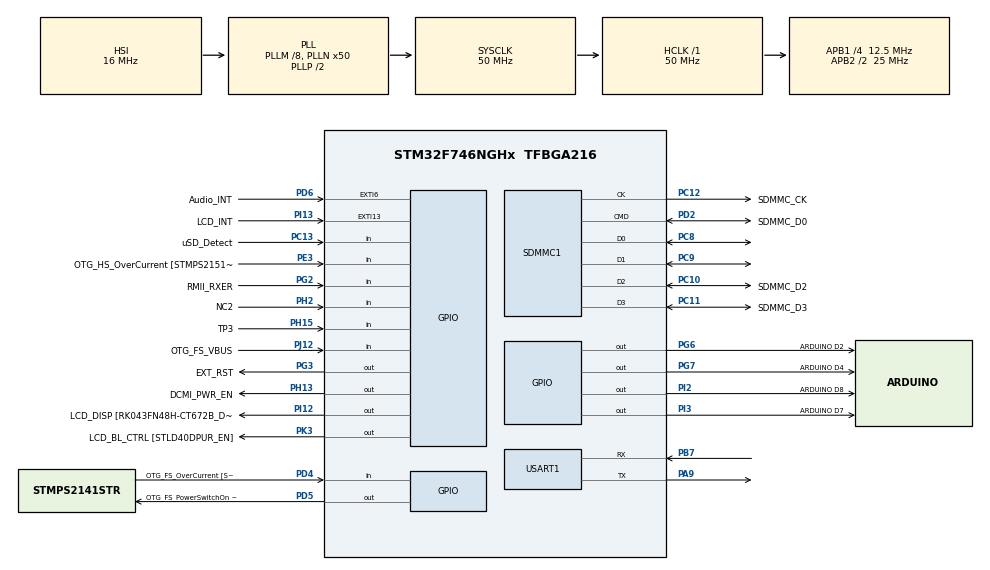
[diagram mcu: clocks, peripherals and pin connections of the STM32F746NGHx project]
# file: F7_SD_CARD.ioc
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Dma.Request0=SDMMC1_RX
Dma.Request1=SDMMC1_TX
Dma.SDMMC1_RX.0.Direction=DMA_PERIPH_TO_MEMORY
Dma.SDMMC1_RX.0.FIFOMode=DMA_FIFOMODE_ENABLE
Dma.SDMMC1_RX.0.FIFOThreshold=DMA_FIFO_THRESHOLD_FULL
Dma.SDMMC1_RX.0.Instance=DMA2_Stream3
Dma.SDMMC1_RX.0.MemBurst=DMA_MBURST_INC4
Dma.SDMMC1_RX.0.MemDataAlignment=DMA_MDATAALIGN_WORD
Dma.SDMMC1_RX.0.MemInc=DMA_MINC_ENABLE
Dma.SDMMC1_RX.0.Mode=DMA_PFCTRL
Dma.SDMMC1_RX.0.PeriphBurst=DMA_PBURST_INC4
Dma.SDMMC1_RX.0.PeriphDataAlignment=DMA_PDATAALIGN_WORD
Dma.SDMMC1_RX.0.PeriphInc=DMA_PINC_DISABLE
Dma.SDMMC1_RX.0.Priority=DMA_PRIORITY_LOW
Dma.SDMMC1_TX.1.Direction=DMA_MEMORY_TO_PERIPH
Dma.SDMMC1_TX.1.FIFOMode=DMA_FIFOMODE_ENABLE
Dma.SDMMC1_TX.1.FIFOThreshold=DMA_FIFO_THRESHOLD_FULL
Dma.SDMMC1_TX.1.Instance=DMA2_Stream6
Dma.SDMMC1_TX.1.MemBurst=DMA_MBURST_INC4
Dma.SDMMC1_TX.1.MemDataAlignment=DMA_MDATAALIGN_WORD
Dma.SDMMC1_TX.1.MemInc=DMA_MINC_ENABLE
Dma.SDMMC1_TX.1.Mode=DMA_PFCTRL
Dma.SDMMC1_TX.1.PeriphBurst=DMA_PBURST_INC4
Dma.SDMMC1_TX.1.PeriphDataAlignment=DMA_PDATAALIGN_WORD
Dma.SDMMC1_TX.1.PeriphInc=DMA_PINC_DISABLE
Dma.SDMMC1_TX.1.Priority=DMA_PRIORITY_LOW
FATFS.BSP.number=1
FATFS.USE_DMA_CODE_SD=1
FATFS0.BSP.STBoard=false
FATFS0.BSP.api=Unknown
FATFS0.BSP.instance=PC13
FATFS0.BSP.ip=GPIO
FATFS0.BSP.mode=Input
FATFS0.BSP.name=Detect_SDIO
FATFS0.BSP.solution=PC13
Mcu.Family=STM32F7
Mcu.Name=STM32F746NGHx
Mcu.Package=TFBGA216
NVIC.DMA2_Stream3_IRQn=true\:0\:0\:false\:false\:true\:false\:true\:true
NVIC.DMA2_Stream6_IRQn=true\:0\:0\:false\:false\:true\:false\:true\:true
NVIC.PriorityGroup=NVIC_PRIORITYGROUP_4
NVIC.SDMMC1_IRQn=true\:0\:0\:false\:false\:true\:true\:true\:true
PA0/WKUP.GPIO_Label=ARDUINO A0
PA0/WKUP.GPIO_Mode=GPIO_MODE_ANALOG
PA0/WKUP.GPIO_PuPd=GPIO_NOPULL
PA0/WKUP.Signal=ADCx_IN0
PA1.GPIO_Label=RMII_REF_CLK [LAN8742A-CZ-TR_REFCLK0]
PA1.Signal=ETH_REF_CLK
PA10.GPIO_Label=OTG_FS_ID
PA10.Signal=USB_OTG_FS_ID
PA11.GPIO_Label=OTG_FS_N
PA11.Signal=USB_OTG_FS_DM
PA12.GPIO_Label=OTG_FS_P
PA12.Signal=USB_OTG_FS_DP
PA13.GPIO_Label=SWDIO
PA13.Signal=SYS_JTMS-SWDIO
PA14.GPIO_Label=SWCLK
PA14.Signal=SYS_JTCK-SWCLK
PA15.GPIO_Label=ARDUINO PWM/D9
PA15.GPIO_ModeDefaultPP=GPIO_MODE_AF_PP
PA15.GPIO_PuPd=GPIO_NOPULL
PA15.GPIO_Speed=GPIO_SPEED_FREQ_LOW
PA15.Signal=S_TIM2_CH1_ETR
PA2.GPIO_Label=RMII_MDIO [LAN8742A-CZ-TR_MDIO]
PA2.Signal=ETH_MDIO
PA3.GPIO_Label=ULPI_D0 [USB3320C-EZK_D0]
PA3.Signal=USB_OTG_HS_ULPI_D0
PA4.GPIO_Label=DCMI_HSYNC
PA4.Signal=DCMI_HSYNC
PA5.GPIO_Label=ULPI_CLK [USB3320C-EZK_CLKOUT]
PA5.Signal=USB_OTG_HS_ULPI_CK
PA6.Signal=DCMI_PIXCLK
PA7.GPIO_Label=RMII_CRS_DV [LAN8742A-CZ-TR_CRS_DV]
PA7.Signal=ETH_CRS_DV
PA8.GPIO_Label=ARDUINO PWM/D10
PA8.GPIO_ModeDefaultPP=GPIO_MODE_AF_PP
PA8.GPIO_PuPd=GPIO_NOPULL
PA8.GPIO_Speed=GPIO_SPEED_FREQ_LOW
PA8.Signal=S_TIM1_CH1
PA9.Mode=Asynchronous
PA9.Signal=USART1_TX
PB0.GPIO_Label=ULPI_D1 [USB3320C-EZK_D1]
PB0.Signal=USB_OTG_HS_ULPI_D1
PB1.GPIO_Label=ULPI_D2 [USB3320C-EZK_D2]
PB1.Signal=USB_OTG_HS_ULPI_D2
PB10.GPIO_Label=ULPI_D3 [USB3320C-EZK_D3]
PB10.Signal=USB_OTG_HS_ULPI_D3
PB11.GPIO_Label=ULPI_D4 [USB3320C-EZK_D4]
PB11.Signal=USB_OTG_HS_ULPI_D4
PB12.GPIO_Label=ULPI_D5 [USB3320C-EZK_D5]
PB12.Signal=USB_OTG_HS_ULPI_D5
PB13.GPIO_Label=ULPI_D6 [USB3320C-EZK_D6]
PB13.Signal=USB_OTG_HS_ULPI_D6
PB14.GPIO_Label=ARDUINO MISO/D12
PB14.GPIO_Mode=GPIO_MODE_AF_PP
PB14.GPIO_PuPd=GPIO_NOPULL
PB14.GPIO_Speed=GPIO_SPEED_FREQ_LOW
PB14.Signal=SPI2_MISO
PB15.GPIO_Label=ARDUINO MOSI/PWM/D11
PB15.GPIO_Mode=GPIO_MODE_AF_PP
PB15.GPIO_PuPd=GPIO_NOPULL
PB15.GPIO_Speed=GPIO_SPEED_FREQ_LOW
PB15.Signal=SPI2_MOSI
PB2.Signal=QUADSPI_CLK
PB3.GPIO_Label=SWO
PB3.Signal=SYS_JTDO-SWO
PB4.GPIO_Label=ARDUINO PWM/D3
PB4.GPIO_ModeDefaultPP=GPIO_MODE_AF_PP
PB4.GPIO_PuPd=GPIO_NOPULL
PB4.GPIO_Speed=GPIO_SPEED_FREQ_LOW
PB4.Signal=S_TIM3_CH1
PB5.GPIO_Label=ULPI_D7 [USB3320C-EZK_D7]
PB5.Signal=USB_OTG_HS_ULPI_D7
PB6.GPIO_Label=QSPI_NCS [N25Q128A13EF840E_S]
PB6.Signal=QUADSPI_BK1_NCS
PB7.Mode=Asynchronous
PB7.Signal=USART1_RX
PB8.GPIO_Label=ARDUINO SCL/D15
PB8.GPIO_Mode=GPIO_MODE_AF_OD
PB8.GPIO_PuPd=GPIO_NOPULL
PB8.GPIO_Speed=GPIO_SPEED_FREQ_LOW
PB8.Signal=I2C1_SCL
PB9.GPIO_Label=ARDUINO SDA/D14
PB9.GPIO_Mode=GPIO_MODE_AF_OD
PB9.GPIO_PuPd=GPIO_NOPULL
PB9.GPIO_Speed=GPIO_SPEED_FREQ_LOW
PB9.Signal=I2C1_SDA
PC0.GPIO_Label=ULPI_STP [USB3320C-EZK_STP]
PC0.Signal=USB_OTG_HS_ULPI_STP
PC1.GPIO_Label=RMII_MDC [LAN8742A-CZ-TR_MDC]
PC1.Signal=ETH_MDC
PC10.GPIO_Label=SDMMC_D2
PC10.Mode=SD_4_bits_Wide_bus
PC10.Signal=SDMMC1_D2
PC11.GPIO_Label=SDMMC_D3
PC11.Mode=SD_4_bits_Wide_bus
PC11.Signal=SDMMC1_D3
PC12.GPIO_Label=SDMMC_CK
PC12.Mode=SD_4_bits_Wide_bus
PC12.Signal=SDMMC1_CK
PC13.GPIO_Label=uSD_Detect
PC13.GPIO_PuPd=GPIO_PULLUP
PC13.Signal=GPIO_Input
PC14/OSC32_IN.GPIO_Label=RCC_OSC32_IN
PC14/OSC32_IN.Signal=RCC_OSC32_IN
PC15/OSC32_OUT.GPIO_Label=RCC_OSC32_OUT
PC15/OSC32_OUT.Signal=RCC_OSC32_OUT
PC2.GPIO_Label=ULPI_DIR [USB3320C-EZK_DIR]
PC2.Signal=USB_OTG_HS_ULPI_DIR
PC3.GPIO_Label=FMC_SDCKE0 [MT48LC4M32B2B5-6A_CKE]
PC3.Signal=FMC_SDCKE0
PC4.GPIO_Label=RMII_RXD0 [LAN8742A-CZ-TR_RXD0]
PC4.Signal=ETH_RXD0
PC5.GPIO_Label=RMII_RXD1 [LAN8742A-CZ-TR_RXD1]
PC5.Signal=ETH_RXD1
PC6.GPIO_Label=ARDUINO TX/D1
PC6.Signal=USART6_TX
PC7.GPIO_Label=ARDUINO RX/D0
PC7.Signal=USART6_RX
PC8.Mode=SD_4_bits_Wide_bus
PC8.Signal=SDMMC1_D0
PC9.Mode=SD_4_bits_Wide_bus
PC9.Signal=SDMMC1_D1
PD0.GPIO_Label=FMC_D2 [MT48LC4M32B2B5-6A_DQ2]
PD0.Signal=FMC_D2_DA2
PD1.GPIO_Label=FMC_D3 [MT48LC4M32B2B5-6A_DQ3]
PD1.Signal=FMC_D3_DA3
PD10.GPIO_Label=FMC_D15 [MT48LC4M32B2B5-6A_DQ15]
PD10.Signal=FMC_D15_DA15
PD11.GPIO_Label=QSPI_D0 [N25Q128A13EF840E_DQ0]
PD11.Signal=QUADSPI_BK1_IO0
PD12.GPIO_Label=QSPI_D1 [N25Q128A13EF840E_DQ1]
PD12.Signal=QUADSPI_BK1_IO1
PD13.GPIO_Label=QSPI_D3 [N25Q128A13EF840E_DQ3]
PD13.Signal=QUADSPI_BK1_IO3
PD14.GPIO_Label=FMC_D0 [MT48LC4M32B2B5-6A_DQ0]
PD14.Signal=FMC_D0_DA0
PD15.GPIO_Label=FMC_D1 [MT48LC4M32B2B5-6A_DQ1]
PD15.Signal=FMC_D1_DA1
PD2.GPIO_Label=SDMMC_D0
PD2.Mode=SD_4_bits_Wide_bus
PD2.Signal=SDMMC1_CMD
PD3.GPIO_Label=DCMI_D5
PD3.Signal=DCMI_D5
PD4.GPIO_Label=OTG_FS_OverCurrent [STMPS2141STR_Fault]
PD4.Signal=GPIO_Input
PD5.GPIO_Label=OTG_FS_PowerSwitchOn [STMPS2141STR_EN]
PD5.PinState=GPIO_PIN_SET
PD5.Signal=GPIO_Output
PD6.GPIO_Label=Audio_INT
PD6.GPIO_ModeDefaultEXTI=GPIO_MODE_EVT_RISING
PD6.Signal=GPXTI6
PD7.GPIO_Label=SPDIF_RX0 [74LVC1G04SE_4]
PD7.Signal=SPDIFRX_IN0
PD8.GPIO_Label=FMC_D13 [MT48LC4M32B2B5-6A_DQ13]
PD8.Signal=FMC_D13_DA13
PD9.GPIO_Label=FMC_D14 [MT48LC4M32B2B5-6A_DQ14]
PD9.Signal=FMC_D14_DA14
PE0.GPIO_Label=FMC_NBL0 [MT48LC4M32B2B5-6A_DQM0]
PE0.Signal=FMC_NBL0
PE1.GPIO_Label=FMC_NBL1 [MT48LC4M32B2B5-6A_DQM1]
PE1.Signal=FMC_NBL1
PE10.GPIO_Label=FMC_D7 [MT48LC4M32B2B5-6A_DQ7]
PE10.Signal=FMC_D7_DA7
PE11.GPIO_Label=FMC_D8 [MT48LC4M32B2B5-6A_DQ8]
PE11.Signal=FMC_D8_DA8
PE12.GPIO_Label=FMC_D9 [MT48LC4M32B2B5-6A_DQ9]
PE12.Signal=FMC_D9_DA9
PE13.GPIO_Label=FMC_D10 [MT48LC4M32B2B5-6A_DQ10]
PE13.Signal=FMC_D10_DA10
PE14.GPIO_Label=FMC_D11 [MT48LC4M32B2B5-6A_DQ11]
PE14.Signal=FMC_D11_DA11
PE15.GPIO_Label=FMC_D12 [MT48LC4M32B2B5-6A_DQ12]
PE15.Signal=FMC_D12_DA12
PE2.GPIO_Label=QSPI_D2 [N25Q128A13EF840E_DQ2]
PE2.Signal=QUADSPI_BK1_IO2
PE3.GPIO_Label=OTG_HS_OverCurrent [STMPS2151STR_FAULT]
PE3.Signal=GPIO_Input
PE4.GPIO_Label=LCD_B0 [RK043FN48H-CT672B_B0]
PE4.Signal=LTDC_B0
PE5.GPIO_Label=DCMI_D6
PE5.Signal=DCMI_D6
PE6.GPIO_Label=DCMI_D7
PE6.Signal=DCMI_D7
PE7.GPIO_Label=FMC_D4 [MT48LC4M32B2B5-6A_DQ4]
PE7.Signal=FMC_D4_DA4
PE8.GPIO_Label=FMC_D5 [MT48LC4M32B2B5-6A_DQ5]
PE8.Signal=FMC_D5_DA5
PE9.GPIO_Label=FMC_D6 [MT48LC4M32B2B5-6A_DQ6]
PE9.Signal=FMC_D6_DA6
PF0.GPIO_Label=FMC_A0 [MT48LC4M32B2B5-6A_A0]
PF0.Signal=FMC_A0
PF1.GPIO_Label=FMC_A1 [MT48LC4M32B2B5-6A_A1]
PF1.Signal=FMC_A1
PF10.GPIO_Label=ARDUINO A1
PF10.GPIO_Mode=GPIO_MODE_ANALOG
PF10.GPIO_PuPd=GPIO_NOPULL
PF10.Signal=ADC3_IN8
PF11.GPIO_Label=FMC_SDNRAS [MT48LC4M32B2B5-6A_RAS]
PF11.Signal=FMC_SDNRAS
PF12.GPIO_Label=FMC_A6 [MT48LC4M32B2B5-6A_A6]
PF12.Signal=FMC_A6
PF13.GPIO_Label=FMC_A7 [MT48LC4M32B2B5-6A_A7]
PF13.Signal=FMC_A7
PF14.GPIO_Label=FMC_A8 [MT48LC4M32B2B5-6A_A8]
PF14.Signal=FMC_A8
PF15.GPIO_Label=FMC_A9 [MT48LC4M32B2B5-6A_A9]
PF15.Signal=FMC_A9
PF2.GPIO_Label=FMC_A2 [MT48LC4M32B2B5-6A_A2]
PF2.Signal=FMC_A2
PF3.GPIO_Label=FMC_A3 [MT48LC4M32B2B5-6A_A3]
PF3.Signal=FMC_A3
PF4.GPIO_Label=FMC_A4 [MT48LC4M32B2B5-6A_A4]
PF4.Signal=FMC_A4
PF5.GPIO_Label=FMC_A5 [MT48LC4M32B2B5-6A_A5]
PF5.Signal=FMC_A5
PF6.GPIO_Label=ARDUINO A5
PF6.GPIO_Mode=GPIO_MODE_ANALOG
PF6.GPIO_PuPd=GPIO_NOPULL
PF6.Signal=ADC3_IN4
PF7.GPIO_Label=ARDUINO A4
PF7.GPIO_Mode=GPIO_MODE_ANALOG
PF7.GPIO_PuPd=GPIO_NOPULL
PF7.Signal=ADC3_IN5
PF8.GPIO_Label=ARDUINO A3
PF8.GPIO_Mode=GPIO_MODE_ANALOG
PF8.GPIO_PuPd=GPIO_NOPULL
PF8.Signal=ADC3_IN6
PF9.GPIO_Label=ARDUINO A2
PF9.GPIO_Mode=GPIO_MODE_ANALOG
PF9.GPIO_PuPd=GPIO_NOPULL
PF9.Signal=ADC3_IN7
PG0.GPIO_Label=FMC_A10 [MT48LC4M32B2B5-6A_A10]
PG0.Signal=FMC_A10
PG1.GPIO_Label=FMC_A11 [MT48LC4M32B2B5-6A_A11]
PG1.Signal=FMC_A11
PG10.GPIO_Label=SAI2_SDB [WM8994ECS/R_ADCDAT1]
PG10.Signal=SAI2_SD_B
PG11.GPIO_Label=RMII_TX_EN [LAN8742A-CZ-TR_TXEN]
PG11.Signal=ETH_TX_EN
PG12.GPIO_Label=LCD_B4 [RK043FN48H-CT672B_B4]
PG12.Signal=LTDC_B4
PG13.GPIO_Label=RMII_TXD0 [LAN8742A-CZ-TR_TXD0]
PG13.Signal=ETH_TXD0
PG14.GPIO_Label=RMII_TXD1 [LAN8742A-CZ-TR_TXD1]
PG14.Signal=ETH_TXD1
PG15.GPIO_Label=FMC_SDNCAS [MT48LC4M32B2B5-6A_CAS]
PG15.Signal=FMC_SDNCAS
PG2.GPIO_Label=RMII_RXER
PG2.Signal=GPIO_Input
PG3.GPIO_Label=EXT_RST
PG3.Signal=GPIO_Output
PG4.GPIO_Label=FMC_BA0 [MT48LC4M32B2B5-6A_BA0]
PG4.Signal=FMC_A14_BA0
PG5.GPIO_Label=FMC_BA1 [MT48LC4M32B2B5-6A_BA1]
PG5.Signal=FMC_A15_BA1
PG6.GPIO_Label=ARDUINO D2
PG6.Signal=GPIO_Output
PG7.GPIO_Label=ARDUINO D4
PG7.Signal=GPIO_Output
PG8.GPIO_Label=FMC_SDCLK [MT48LC4M32B2B5-6A_CLK]
PG8.Signal=FMC_SDCLK
PG9.GPIO_Label=DCMI_VSYNC
PG9.Signal=DCMI_VSYNC
PH0/OSC_IN.GPIO_Label=OSC_25M [NZ2520SB-25.00M_OUT]
PH0/OSC_IN.Signal=RCC_OSC_IN
PH1/OSC_OUT.Signal=RCC_OSC_OUT
PH10.GPIO_Label=DCMI_D1
PH10.Signal=DCMI_D1
PH11.GPIO_Label=DCMI_D2
PH11.Signal=DCMI_D2
PH12.GPIO_Label=DCMI_D3
PH12.Signal=DCMI_D3
PH13.GPIO_Label=DCMI_PWR_EN
PH13.Signal=GPIO_Output
PH14.GPIO_Label=DCMI_D4
PH14.Signal=DCMI_D4
PH15.GPIO_Label=TP3
PH15.Signal=GPIO_Input
PH2.GPIO_Label=NC2
PH2.Signal=GPIO_Input
PH3.GPIO_Label=FMC_SDNE0 [MT48LC4M32B2B5-6A_CS]
PH3.Signal=FMC_SDNE0
PH4.GPIO_Label=ULPI_NXT [USB3320C-EZK_NXT]
PH4.Signal=USB_OTG_HS_ULPI_NXT
PH5.GPIO_Label=FMC_SDNME [MT48LC4M32B2B5-6A_WE]
PH5.Signal=FMC_SDNWE
PH6.GPIO_Label=ARDUINO PWM/D6
PH6.Signal=S_TIM12_CH1
PH7.GPIO_Label=LCD_SCL [RK043FN48H-CT672B_SCL]
PH7.Signal=I2C3_SCL
PH8.GPIO_Label=LCD_SDA [RK043FN48H-CT672B_SDA]
PH8.Signal=I2C3_SDA
PH9.GPIO_Label=DCMI_D0
PH9.Signal=DCMI_D0
PI0.GPIO_Label=ARDUINO PWM/CS/D5
PI0.GPIO_ModeDefaultPP=GPIO_MODE_AF_PP
PI0.GPIO_PuPd=GPIO_NOPULL
PI0.GPIO_Speed=GPIO_SPEED_FREQ_LOW
PI0.Signal=S_TIM5_CH4
PI1.GPIO_Label=ARDUINO SCK/D13
PI1.GPIO_Mode=GPIO_MODE_AF_PP
PI1.GPIO_PuPd=GPIO_NOPULL
PI1.GPIO_Speed=GPIO_SPEED_FREQ_LOW
PI1.Signal=SPI2_SCK
PI10.GPIO_Label=LCD_HSYNC [RK043FN48H-CT672B_HSYNC]
PI10.Signal=LTDC_HSYNC
PI12.GPIO_Label=LCD_DISP [RK043FN48H-CT672B_DISP] 
PI12.Signal=GPIO_Output
PI13.GPIO_Label=LCD_INT
PI13.GPIO_ModeDefaultEXTI=GPIO_MODE_EVT_RISING
PI13.Signal=GPXTI13
PI14.GPIO_Label=LCD_CLK [RK043FN48H-CT672B_CLK]
PI14.Signal=LTDC_CLK
PI15.GPIO_Label=LCD_R0 [RK043FN48H-CT672B_R0]
PI15.Signal=LTDC_R0
PI2.GPIO_Label=ARDUINO D8
PI2.Signal=GPIO_Output
PI3.GPIO_Label=ARDUINO D7
PI3.Signal=GPIO_Output
PI4.GPIO_Label=SAI2_MCLKA [WM8994ECS/R_MCLK1]
PI4.Signal=SAI2_MCLK_A
PI5.GPIO_Label=SAI2_SCKA [WM8994ECS/R_BCLK1]
PI5.Signal=SAI2_SCK_A
PI6.GPIO_Label=SAI2_SDA [WM8994ECS/R_DACDAT1]
PI6.Signal=SAI2_SD_A
PI7.GPIO_Label=SAI2_FSA [WM8994ECS/R_LRCLK1]
PI7.Signal=SAI2_FS_A
PI8.GPIO_Label=NC1 [TP2]
PI8.Signal=RTC_TS
PI9.GPIO_Label=LCD_VSYNC [RK043FN48H-CT672B_VSYNC]
PI9.Signal=LTDC_VSYNC
PJ0.GPIO_Label=LCD_R1 [RK043FN48H-CT672B_R1]
PJ0.Signal=LTDC_R1
PJ1.GPIO_Label=LCD_R2 [RK043FN48H-CT672B_R2]
PJ1.Signal=LTDC_R2
PJ10.GPIO_Label=LCD_G3 [RK043FN48H-CT672B_G3]
PJ10.Signal=LTDC_G3
PJ11.GPIO_Label=LCD_G4 [RK043FN48H-CT672B_G4]
PJ11.Signal=LTDC_G4
PJ12.GPIO_Label=OTG_FS_VBUS
PJ12.Signal=GPIO_Input
PJ13.GPIO_Label=LCD_B1 [RK043FN48H-CT672B_B1]
PJ13.Signal=LTDC_B1
PJ14.GPIO_Label=LCD_B2 [RK043FN48H-CT672B_B2]
PJ14.Signal=LTDC_B2
PJ15.GPIO_Label=LCD_B3 [RK043FN48H-CT672B_B3]
PJ15.Signal=LTDC_B3
PJ2.GPIO_Label=LCD_R3 [RK043FN48H-CT672B_R3]
PJ2.Signal=LTDC_R3
PJ3.GPIO_Label=LCD_R4 [RK043FN48H-CT672B_R4]
PJ3.Signal=LTDC_R4
PJ4.GPIO_Label=LCD_R5 [RK043FN48H-CT672B_R5]
PJ4.Signal=LTDC_R5
PJ5.GPIO_Label=LCD_R6 [RK043FN48H-CT672B_R6]
PJ5.Signal=LTDC_R6
PJ6.GPIO_Label=LCD_R7 [RK043FN48H-CT672B_R7]
PJ6.Signal=LTDC_R7
PJ7.GPIO_Label=LCD_G0 [RK043FN48H-CT672B_G0]
PJ7.Signal=LTDC_G0
PJ8.GPIO_Label=LCD_G1 [RK043FN48H-CT672B_G1]
PJ8.Signal=LTDC_G1
PJ9.GPIO_Label=LCD_G2 [RK043FN48H-CT672B_G2]
PJ9.Signal=LTDC_G2
PK0.GPIO_Label=LCD_G5 [RK043FN48H-CT672B_G5]
PK0.Signal=LTDC_G5
PK1.GPIO_Label=LCD_G6 [RK043FN48H-CT672B_G6]
PK1.Signal=LTDC_G6
PK2.GPIO_Label=LCD_G7 [RK043FN48H-CT672B_G7]
PK2.Signal=LTDC_G7
PK3.GPIO_Label=LCD_BL_CTRL [STLD40DPUR_EN]
PK3.Signal=GPIO_Output
PK4.GPIO_Label=LCD_B5 [RK043FN48H-CT672B_B5]
PK4.Signal=LTDC_B5
PK5.GPIO_Label=LCD_B6 [RK043FN48H-CT672B_B6]
PK5.Signal=LTDC_B6
PK6.GPIO_Label=LCD_B7 [RK043FN48H-CT672B_B7]
PK6.Signal=LTDC_B7
PK7.GPIO_Label=LCD_DE [RK043FN48H-CT672B_DE]
PK7.Signal=LTDC_DE
ProjectManager.HeapSize=0x400
ProjectManager.StackSize=0x800
ProjectManager.TargetToolchain=STM32CubeIDE
RCC.AHBFreq_Value=50000000
RCC.APB1CLKDivider=RCC_HCLK_DIV4
RCC.APB1Freq_Value=12500000
RCC.APB1TimFreq_Value=25000000
RCC.APB2CLKDivider=RCC_HCLK_DIV2
RCC.APB2Freq_Value=25000000
RCC.APB2TimFreq_Value=50000000
RCC.CortexFreq_Value=50000000
RCC.HCLKFreq_Value=50000000
RCC.HSE_VALUE=25000000
RCC.HSI_VALUE=16000000
RCC.LSE_VALUE=32768
RCC.PLLM=8
RCC.PLLN=50
RCC.PLLSourceVirtual=RCC_PLLSOURCE_HSI
RCC.SYSCLKFreq_VALUE=50000000
RCC.SYSCLKSource=RCC_SYSCLKSOURCE_PLLCLK
RCC.USBFreq_Value=50000000
RCC.VCOOutputFreq_Value=100000000
SH.ADCx_IN0.0=ADC3_IN0
SH.FMC_A0.0=FMC_A0
SH.FMC_A1.0=FMC_A1
SH.FMC_A10.0=FMC_A10
SH.FMC_A11.0=FMC_A11
SH.FMC_A14_BA0.0=FMC_BA0
SH.FMC_A15_BA1.0=FMC_BA1
SH.FMC_A2.0=FMC_A2
SH.FMC_A3.0=FMC_A3
SH.FMC_A4.0=FMC_A4
SH.FMC_A5.0=FMC_A5
SH.FMC_A6.0=FMC_A6
SH.FMC_A7.0=FMC_A7
SH.FMC_A8.0=FMC_A8
SH.FMC_A9.0=FMC_A9
SH.FMC_D0_DA0.0=FMC_D0
SH.FMC_D10_DA10.0=FMC_D10
SH.FMC_D11_DA11.0=FMC_D11
SH.FMC_D12_DA12.0=FMC_D12
SH.FMC_D13_DA13.0=FMC_D13
SH.FMC_D14_DA14.0=FMC_D14
SH.FMC_D15_DA15.0=FMC_D15
SH.FMC_D1_DA1.0=FMC_D1
SH.FMC_D2_DA2.0=FMC_D2
SH.FMC_D3_DA3.0=FMC_D3
SH.FMC_D4_DA4.0=FMC_D4
SH.FMC_D5_DA5.0=FMC_D5
SH.FMC_D6_DA6.0=FMC_D6
SH.FMC_D7_DA7.0=FMC_D7
SH.FMC_D8_DA8.0=FMC_D8
SH.FMC_D9_DA9.0=FMC_D9
SH.FMC_NBL0.0=FMC_NBL0
SH.FMC_NBL1.0=FMC_NBL1
SH.FMC_SDCLK.0=FMC_SDCLK
SH.FMC_SDNCAS.0=FMC_SDNCAS
SH.FMC_SDNRAS.0=FMC_SDNRAS
SH.FMC_SDNWE.0=FMC_SDNWE
SH.S_TIM12_CH1.0=TIM12_CH1
SH.S_TIM1_CH1.0=TIM1_CH1
SH.S_TIM2_CH1_ETR.0=TIM2_CH1
SH.S_TIM3_CH1.0=TIM3_CH1
SH.S_TIM5_CH4.0=TIM5_CH4
USART1.VirtualMode-Asynchronous=VM_ASYNC
VP_FATFS_VS_SDIO.Mode=SDIO
board=STM32F746G-DISCO

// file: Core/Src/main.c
/* USER CODE BEGIN Header */
/**
  ******************************************************************************
  * @file           : main.c
  * @brief          : Main program body
  ******************************************************************************
  * @attention
  *
  * Copyright (c) 2022 STMicroelectronics.
  * All rights reserved.
  *
  * This software is licensed under terms that can be found in the LICENSE file
  * in the root directory of this software component.
  * If no LICENSE file comes with this software, it is provided AS-IS.
  *
  ******************************************************************************
  */
/* USER CODE END Header */
#include "main.h"
#include "dma.h"
#include "fatfs.h"
#include "sdmmc.h"
#include "usart.h"
#include "gpio.h"

/* USER CODE BEGIN Includes */
#include <string.h>
#include <stdio.h>
#include <stdarg.h> //for va_list var arg functions

#include "sd_card.h"
/* USER CODE END Includes */

void SystemClock_Config(void);

int main(void)
{
  /* USER CODE BEGIN 1 */
  FRESULT res;
  /* USER CODE END 1 */

  /* MCU Configuration--------------------------------------------------------*/

  /* Reset of all peripherals, Initializes the Flash interface and the Systick. */
  HAL_Init();

  /* Configure the system clock */
  SystemClock_Config();

  /* Initialize all configured peripherals */
  MX_GPIO_Init();
  MX_SDMMC1_SD_Init();
  MX_DMA_Init();
  MX_FATFS_Init();
  MX_USART1_UART_Init();
  /* USER CODE BEGIN 2 */

  /* Time for Disco-Board USB VCP via ST-Link to enumerate */
  HAL_Delay(300);
  //uint8_t bufferText[] = "Hello";
  //HAL_UART_Transmit(&huart1, &bufferText[0], sizeof(bufferText), 100);

  /* Check SD card present - Pin pulled low when card is inserted */
  GPIO_PinState nCardDetect = HAL_GPIO_ReadPin(uSD_Detect_GPIO_Port, uSD_Detect_Pin);

  if(nCardDetect == CARD_REMOVED)
  {
      myprintf("SD Card not detected\r\n");
  }
  else if(nCardDetect == CARD_INSERTED)
  {
      myprintf("SD Card detected\r\n");

      /* Mount SD before file operations - power up / card swap */
      res = sd_mount();
      if(res != FR_OK)
          myprintf("sd_mount error (%i)\r\n", res);
      else
          myprintf("SD Mounted\r\n");

      /* FatFS operations test code here */

      /* Unmount SD after file operations - power down / card swap */
      res = sd_unmount();
      if(res != FR_OK)
          myprintf("sd_unmount error (%i)\r\n", res);
      else
          myprintf("SD Unmounted\r\n");
  }

  /* USER CODE END 2 */

  /* Infinite loop */
  while (1)
  {

  }
}

void SystemClock_Config(void)
{
  RCC_OscInitTypeDef RCC_OscInitStruct = {0};
  RCC_ClkInitTypeDef RCC_ClkInitStruct = {0};

  /** Configure the main internal regulator output voltage
  */
  __HAL_RCC_PWR_CLK_ENABLE();
  __HAL_PWR_VOLTAGESCALING_CONFIG(PWR_REGULATOR_VOLTAGE_SCALE3);

  /** Initializes the RCC Oscillators according to the specified parameters
  * in the RCC_OscInitTypeDef structure.
  */
  RCC_OscInitStruct.OscillatorType = RCC_OSCILLATORTYPE_HSI;
  RCC_OscInitStruct.HSIState = RCC_HSI_ON;
  RCC_OscInitStruct.HSICalibrationValue = RCC_HSICALIBRATION_DEFAULT;
  RCC_OscInitStruct.PLL.PLLState = RCC_PLL_ON;
  RCC_OscInitStruct.PLL.PLLSource = RCC_PLLSOURCE_HSI;
  RCC_OscInitStruct.PLL.PLLM = 8;
  RCC_OscInitStruct.PLL.PLLN = 50;
  RCC_OscInitStruct.PLL.PLLP = RCC_PLLP_DIV2;
  RCC_OscInitStruct.PLL.PLLQ = 2;
  if (HAL_RCC_OscConfig(&RCC_OscInitStruct) != HAL_OK)
  {
    Error_Handler();
  }

  /** Initializes the CPU, AHB and APB buses clocks
  */
  RCC_ClkInitStruct.ClockType = RCC_CLOCKTYPE_HCLK|RCC_CLOCKTYPE_SYSCLK
                              |RCC_CLOCKTYPE_PCLK1|RCC_CLOCKTYPE_PCLK2;
  RCC_ClkInitStruct.SYSCLKSource = RCC_SYSCLKSOURCE_PLLCLK;
  RCC_ClkInitStruct.AHBCLKDivider = RCC_SYSCLK_DIV1;
  RCC_ClkInitStruct.APB1CLKDivider = RCC_HCLK_DIV4;
  RCC_ClkInitStruct.APB2CLKDivider = RCC_HCLK_DIV2;

  if (HAL_RCC_ClockConfig(&RCC_ClkInitStruct, FLASH_LATENCY_1) != HAL_OK)
  {
    Error_Handler();
  }
}

/* USER CODE BEGIN 4 */
void myprintf(const char *fmt, ...)
{
    static char buffer[256];
    va_list args;
    va_start(args, fmt);
    vsnprintf(buffer, sizeof(buffer), fmt, args);
    va_end(args);

    int len = strlen(buffer);
    HAL_UART_Transmit(&huart1, (uint8_t*)buffer, len, 100);
}
/* USER CODE END 4 */

void Error_Handler(void)
{
  __disable_irq();
  while (1)
  {
  }
}
